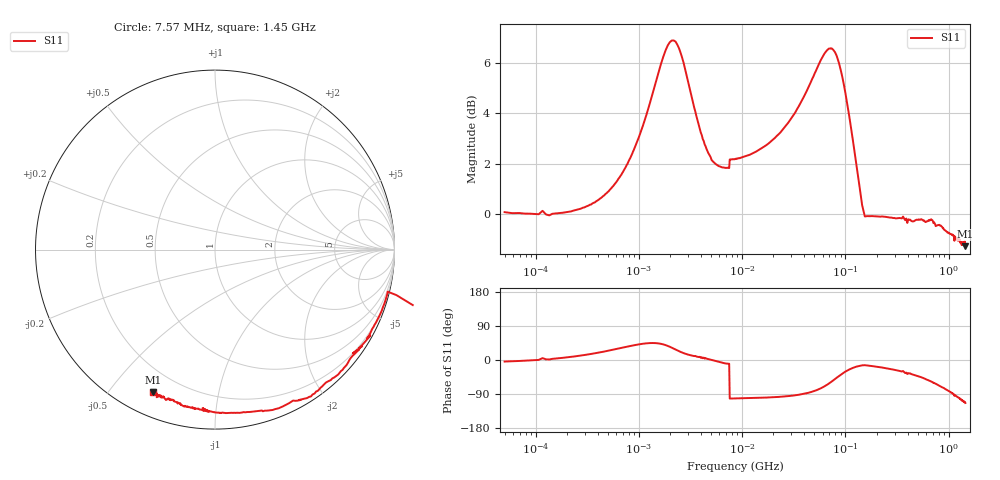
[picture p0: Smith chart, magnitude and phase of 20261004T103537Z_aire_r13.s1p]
! piloto_corto / aire / r13
# HZ S RI R 50
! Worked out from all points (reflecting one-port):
!   501 points, 50 kHz to 1.45 GHz, reference 50 ohm
!   lowest |S11| = -1.3 dB at 1.45 GHz (marker M1), VSWR 13.73, Z = 5.2 - j32.6 ohm
!   phase of S11 starts at -4 deg and turns -109 deg over the sweep
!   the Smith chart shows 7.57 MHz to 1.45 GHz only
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50000  1.007 -0.072
183000  1.002 0.1009
373000  1.006 0.3188
658000  1.016 0.6157
1180000  1.133 1.092
1630000  1.457 1.345
1990000  1.799 1.255
2440000  1.96 0.8443
3250000  1.67 0.346
4690000  1.322 0.0555
7300000  1.218 -0.2093
7750000  -0.2603 -1.258
8560000  -0.2547 -1.262
1.81e7  -0.2122 -1.366
3.16e7  -0.0993 -1.573
4.78e7  0.2119 -1.846
6.67e7  0.8972 -1.917
7.57e7  1.238 -1.722
8.83e7  1.494 -1.274
9.82e7  1.506 -0.9348
1e8  1.496 -0.8806
1.18e8  1.31 -0.498
1.36e8  1.102 -0.3091
1.63e8  0.96 -0.2472
4.06e8  0.8036 -0.5557
5.59e8  0.665 -0.7118
8.38e8  0.3219 -0.8934
1.45e9  -0.3434 -0.7931
